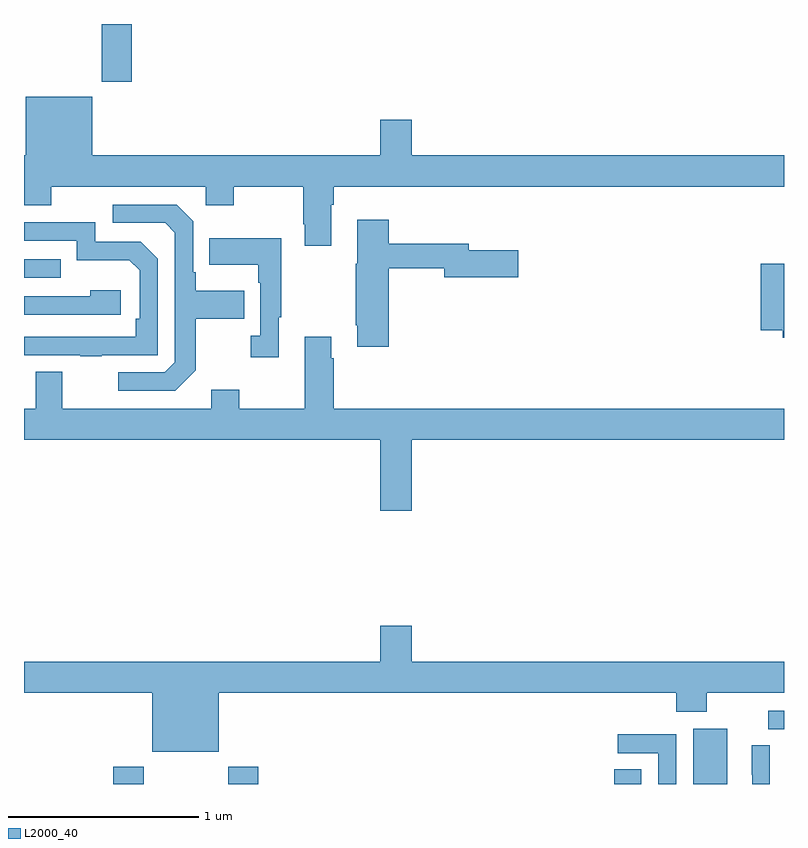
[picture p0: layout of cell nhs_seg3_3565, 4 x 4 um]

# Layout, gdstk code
import gdstk
lib = gdstk.Library(unit=1e-6, precision=1e-09)
def R(c, l, rs):  # rectangles x0, y0, x1, y1
    for r in rs: c.add(gdstk.rectangle(r[:2], r[2:], *l))
def P(c, l, *ps):  # polygons
    for p in ps: c.add(gdstk.Polygon(p, *l))
L2000_40 = (2000, 40)

nhs_seg3_3565 = lib.new_cell('nhs_seg3_3565')
R(nhs_seg3_3565, L2000_40, [(295.469,736.4,295.629,736.492), (296.074,736.4,296.234,736.492), (298.106,736.4,298.249,736.478), (298.523,736.4,298.702,736.69), (298.917,736.689,299,736.785), (295,739.065,295.193,739.161), (295.408,740.097,295.568,740.4)])
P(nhs_seg3_3565, L2000_40, [(296.617,739.448),(296.63,739.448),(296.63,739.544),(299,739.544),(299,739.708),(297.04,739.708),(297.04,739.897),(296.876,739.897),(296.876,739.708),(295.36,739.708),(295.36,740.017),(295.01,740.017),(295.01,739.708),(295,739.708),(295,739.445),(295.143,739.445),(295.143,739.544),(295.956,739.544),(295.956,739.445),(296.103,739.445),(296.103,739.544),(296.47,739.544),(296.47,739.345),(296.477,739.345),(296.477,739.233),(296.617,739.233)],
  [(295.903,738.577),(295.903,738.85),(296.159,738.85),(296.159,738.997),(295.903,738.997),(295.903,739.093),(295.89,739.093),(295.89,739.362),(295.803,739.449),(295.467,739.449),(295.467,739.353),(295.743,739.353),(295.794,739.302),(295.794,738.621),(295.74,738.567),(295.497,738.567),(295.497,738.471),(295.797,738.471)],
  [(296.921,739.114),(297.212,739.114),(297.212,739.067),(297.601,739.067),(297.601,739.209),(297.34,739.209),(297.34,739.243),(296.921,739.243),(296.921,739.369),(296.753,739.369),(296.753,739.137),(296.746,739.137),(296.746,738.814),(296.753,738.814),(296.753,738.702),(296.921,738.702)],
  [(295.409,738.657),(295.704,738.657),(295.704,739.164),(295.614,739.254),(295.374,739.254),(295.374,739.356),(295,739.356),(295,739.26),(295.278,739.26),(295.278,739.157),(295.555,739.157),(295.608,739.104),(295.608,738.85),(295.588,738.85),(295.588,738.753),(295,738.753),(295,738.657),(295.297,738.657),(295.297,738.652),(295.409,738.652)],
  [(296.341,738.857),(296.353,738.857),(296.353,739.273),(295.975,739.273),(295.975,739.133),(296.232,739.133),(296.232,739.037),(296.244,739.037),(296.244,738.758),(296.193,738.758),(296.193,738.645),(296.341,738.645)],
  [(299,739.138),(298.877,739.138),(298.877,738.788),(298.994,738.788),(298.994,738.749),(299,738.749)],
  [(295.51,739),(295.349,739),(295.349,738.966),(295,738.966),(295,738.87),(295.51,738.87)],
  [(297.04,738.212),(299,738.212),(299,738.376),(296.63,738.376),(296.63,738.641),(296.617,738.641),(296.617,738.754),(296.477,738.754),(296.477,738.376),(296.133,738.376),(296.133,738.475),(295.985,738.475),(295.985,738.376),(295.201,738.376),(295.201,738.571),(295.061,738.571),(295.061,738.376),(295,738.376),(295,738.212),(296.876,738.212),(296.876,737.838),(297.04,737.838)],
  [(296.026,736.88),(298.433,736.88),(298.433,736.781),(298.593,736.781),(298.593,736.88),(299,736.88),(299,737.044),(297.04,737.044),(297.04,737.233),(296.876,737.233),(296.876,737.044),(295,737.044),(295,736.88),(295.676,736.88),(295.676,736.571),(296.026,736.571)],
  [(298.434,736.662),(298.125,736.662),(298.125,736.563),(298.338,736.563),(298.338,736.4),(298.434,736.4)],
  [(298.926,736.604),(298.83,736.604),(298.83,736.45),(298.832,736.45),(298.832,736.4),(298.926,736.4)])

lib.write_gds('nhs_seg3_3565.gds')
